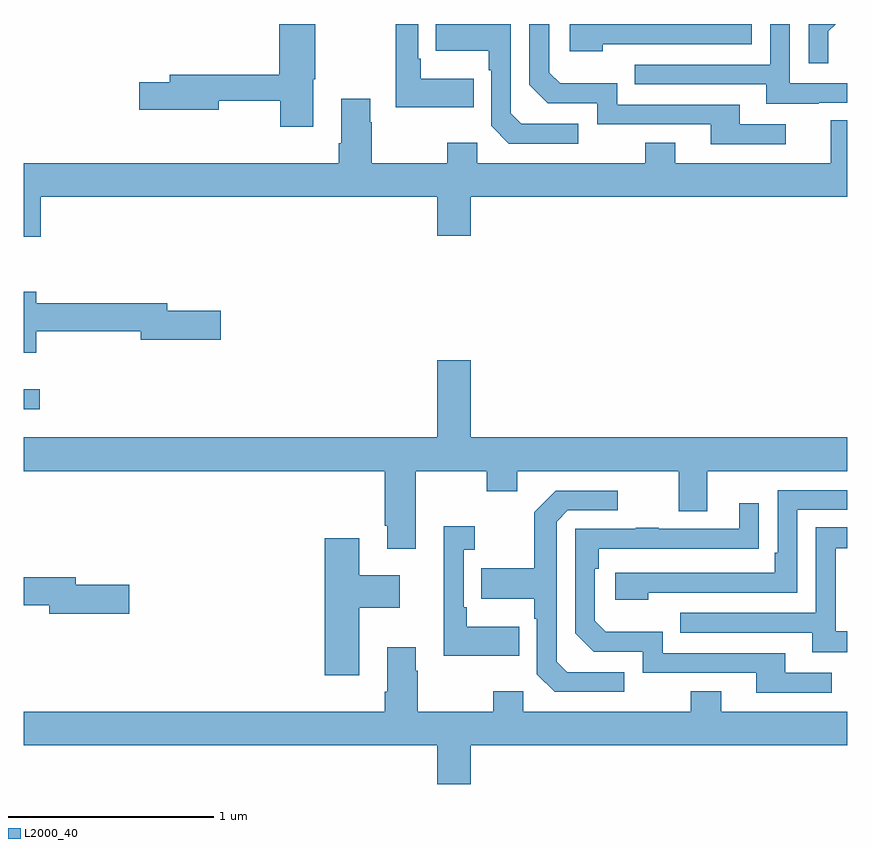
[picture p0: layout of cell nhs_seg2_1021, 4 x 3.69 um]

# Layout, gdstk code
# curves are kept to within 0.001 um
import gdstk
lib = gdstk.Library(unit=1e-6, precision=1e-09)
def R(c, l, rs):  # rectangles x0, y0, x1, y1
    for r in rs: c.add(gdstk.rectangle(r[:2], r[2:], *l))
def P(c, l, *ps):  # polygons
    for p in ps: c.add(gdstk.Polygon(p, *l))
L2000_40 = (2000, 40)

nhs_seg2_1021 = lib.new_cell('nhs_seg2_1021')
R(nhs_seg2_1021, L2000_40, [(163,655.928,163.078,656.025)])
P(nhs_seg2_1021, L2000_40, [(164.407,657.531),(164.415,657.531),(164.415,657.8),(164.24,657.8),(164.24,657.554),(163.709,657.554),(163.709,657.518),(163.56,657.518),(163.56,657.383),(163.948,657.383),(163.948,657.426),(164.245,657.426),(164.245,657.3),(164.407,657.3)],
  [(166.909,657.765),(166.944,657.8),(166.812,657.8),(166.812,657.609),(166.909,657.609)],
  [(166.861,657.417),(167,657.417),(167,657.513),(166.722,657.513),(166.722,657.8),(166.626,657.8),(166.626,657.603),(165.967,657.603),(165.967,657.507),(166.607,657.507),(166.607,657.413),(166.861,657.413)],
  [(165.185,657.535),(164.929,657.535),(164.929,657.631),(164.916,657.631),(164.916,657.8),(164.808,657.8),(164.808,657.395),(165.185,657.395)],
  [(166.702,657.312),(166.477,657.312),(166.477,657.408),(165.882,657.408),(165.882,657.511),(165.605,657.511),(165.552,657.564),(165.552,657.8),(165.456,657.8),(165.456,657.504),(165.546,657.414),(165.786,657.414),(165.786,657.312),(166.337,657.312),(166.337,657.216),(166.702,657.216)],
  [(165.694,657.315),(165.417,657.315),(165.366,657.366),(165.366,657.8),(165.001,657.8),(165.001,657.671),(165.258,657.671),(165.258,657.575),(165.27,657.575),(165.27,657.306),(165.357,657.219),(165.694,657.219)],
  [(165.812,657.702),(166.536,657.702),(166.536,657.8),(166.427,657.8),(166.427,657.798),(165.651,657.798),(165.651,657.668),(165.812,657.668)],
  [(163.082,656.96),(165.008,656.96),(165.008,656.772),(165.172,656.772),(165.172,656.96),(167,656.96),(167,657.332),(166.919,657.332),(166.919,657.124),(166.165,657.124),(166.165,657.223),(166.018,657.223),(166.018,657.124),(165.204,657.124),(165.204,657.223),(165.058,657.223),(165.058,657.124),(164.691,657.124),(164.691,657.323),(164.683,657.323),(164.683,657.436),(164.543,657.436),(164.543,657.22),(164.531,657.22),(164.531,657.124),(163,657.124),(163,656.766),(163.082,656.766)],
  [(163.06,656.308),(163.568,656.308),(163.568,656.266),(163.957,656.266),(163.957,656.408),(163.696,656.408),(163.696,656.444),(163.06,656.444),(163.06,656.5),(163,656.5),(163,656.204),(163.06,656.204)],
  [(164.905,655.628),(165.25,655.628),(165.25,655.529),(165.397,655.529),(165.397,655.628),(166.181,655.628),(166.181,655.434),(166.321,655.434),(166.321,655.628),(167,655.628),(167,655.792),(165.172,655.792),(165.172,656.167),(165.008,656.167),(165.008,655.792),(163,655.792),(163,655.628),(164.753,655.628),(164.753,655.363),(164.765,655.363),(164.765,655.251),(164.905,655.251)],
  [(166.034,655.038),(166.758,655.038),(166.758,655.44),(167,655.44),(167,655.536),(166.662,655.536),(166.662,655.231),(166.649,655.231),(166.649,655.134),(165.873,655.134),(165.873,655.004),(166.034,655.004)],
  [(165.916,654.651),(165.639,654.651),(165.588,654.702),(165.588,655.383),(165.642,655.437),(165.886,655.437),(165.886,655.533),(165.585,655.533),(165.48,655.427),(165.48,655.155),(165.223,655.155),(165.223,655.007),(165.48,655.007),(165.48,654.911),(165.492,654.911),(165.492,654.642),(165.579,654.555),(165.916,654.555)],
  [(166.924,654.648),(166.699,654.648),(166.699,654.744),(166.104,654.744),(166.104,654.847),(165.827,654.847),(165.774,654.9),(165.774,655.154),(165.794,655.154),(165.794,655.251),(166.571,655.252),(166.571,655.471),(166.475,655.471),(166.475,655.347),(166.085,655.347),(166.085,655.352),(165.973,655.352),(165.973,655.347),(165.678,655.347),(165.678,654.84),(165.768,654.75),(166.008,654.75),(166.008,654.648),(166.559,654.648),(166.559,654.552),(166.924,654.552)],
  [(165.407,654.871),(165.151,654.871),(165.151,654.967),(165.138,654.967),(165.138,655.247),(165.19,655.247),(165.19,655.36),(165.041,655.36),(165.041,654.731),(165.407,654.731)],
  [(167,654.849),(166.944,654.849),(166.944,655.254),(167,655.254),(167,655.355),(166.848,655.355),(166.848,654.939),(166.189,654.939),(166.189,654.843),(166.829,654.843),(166.829,654.749),(167,654.749)],
  [(164.629,654.965),(164.827,654.965),(164.827,655.123),(164.629,655.123),(164.629,655.303),(164.462,655.303),(164.462,654.636),(164.629,654.636)],
  [(163.513,655.076),(163.252,655.076),(163.252,655.112),(163,655.112),(163,654.976),(163.124,654.976),(163.124,654.934),(163.513,654.934)],
  [(165.172,654.296),(167,654.296),(167,654.46),(166.387,654.46),(166.387,654.559),(166.24,654.559),(166.24,654.46),(165.426,654.46),(165.426,654.559),(165.28,654.559),(165.28,654.46),(164.913,654.46),(164.913,654.659),(164.905,654.659),(164.905,654.772),(164.765,654.772),(164.765,654.556),(164.753,654.556),(164.753,654.46),(163,654.46),(163,654.296),(165.008,654.296),(165.008,654.108),(165.172,654.108)])

lib.write_gds('nhs_seg2_1021.gds')
